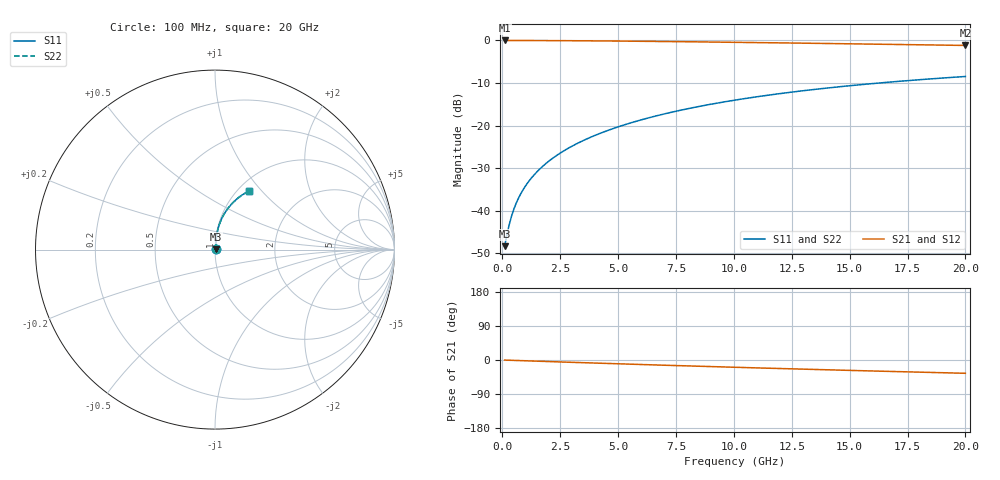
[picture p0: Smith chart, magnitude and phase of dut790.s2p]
! Touchstone file exported from HFSS 2024.1.0
!  File:  C:/UserFiles/LocalFiles/RDL_TSV_Batchsim/temp_RDL_top_790_1779853320.aedt
!  Generated:  11:44:26 AM May 27, 2026
!  Design:  RDL_top
!  Project:  temp_RDL_top_790_1779853320
!  Setup:  Setup1
!  Solution:  Sweep
! Variables:
!  dtsv = 10.80580581um
!  hbump = 3um
!  htsv = 72.89um
!  ldown = 100um
!  lrdl = 432.09um
!  p = 40
!  p1 = 56.59um
!  rhole = 1um
!  t = 450um
!  tdown = 3.915915916um
!  trdl = 2.53um
!  wdown = 15.38538539um
!  wrdl = 20.08um
# GHz S MA R 50.000000
! Terminal data exported
! Port[1] = Box2_T1
! Port[2] = Box2_T2
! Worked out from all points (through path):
!   200 points, 100 MHz to 20 GHz, reference 50 ohm
!   highest |S21| = -0.03 dB at 100 MHz (marker M1); lowest = -1.2 dB at 20 GHz (marker M2)
!   group delay of S21, straight-line fit = 4.85 ps
!   lowest |S11| = -48.3 dB at 100 MHz (marker M3), VSWR 1.01, Z = 50.3 + j0.203 ohm
!   |S11| at or under -10 dB: start of sweep to 16.3 GHz
!   |S22| runs from -48.3 to -8.5 dB; largest |S21 - S12| = 2.7e-15
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0.1  0.003844 31.6  0.9967 -0.2  0.9967 -0.2  0.003844 31.6
! Gamma 0 0 0 0
! Port Impedance 50 0 50 0
0.2  0.005225 50.1  0.9966 -0.4  0.9966 -0.4  0.005225 50.1
0.3  0.006898 59.9  0.9965 -0.6  0.9965 -0.6  0.006898 59.9
0.4  0.008665 65.6  0.9963 -0.8  0.9963 -0.8  0.008665 65.6
0.5  0.01046 69.3  0.9962 -1.1  0.9962 -1.1  0.01046 69.3
0.6  0.01227 71.9  0.996 -1.3  0.996 -1.3  0.01227 71.9
0.8  0.01588 75.4  0.9957 -1.7  0.9957 -1.7  0.01588 75.4
1.1  0.02135 78.4  0.9952 -2.3  0.9952 -2.3  0.02135 78.4
1.3  0.02502 79.8  0.9948 -2.7  0.9948 -2.7  0.02502 79.8
1.6  0.03057 81.1  0.9942 -3.3  0.9942 -3.3  0.03057 81.1
2.1  0.03993 82.5  0.9929 -4.3  0.9929 -4.3  0.03993 82.5
2.7  0.05132 83.2  0.991 -5.5  0.991 -5.5  0.05132 83.2
3.5  0.06678 83.5  0.988 -7.1  0.988 -7.1  0.06678 83.5
4.2  0.08054 83.3  0.9848 -8.5  0.9848 -8.5  0.08054 83.3
5  0.09649 82.8  0.9808 -10.0  0.9808 -10.0  0.09649 82.8
5.9  0.1147 81.9  0.9757 -11.8  0.9757 -11.8  0.1147 81.9
6.8  0.133 80.8  0.9702 -13.4  0.9702 -13.4  0.133 80.8
8.4  0.1656 78.6  0.9598 -16.3  0.9598 -16.3  0.1656 78.6
10.1  0.1999 76.0  0.9479 -19.3  0.9479 -19.3  0.1999 76.0
13.4  0.264 70.5  0.9233 -24.9  0.9233 -24.9  0.264 70.5
16.7  0.3231 65.1  0.8975 -30.1  0.8975 -30.1  0.3231 65.1
20  0.3765 60.0  0.8711 -35.1  0.8711 -35.1  0.3765 60.0
